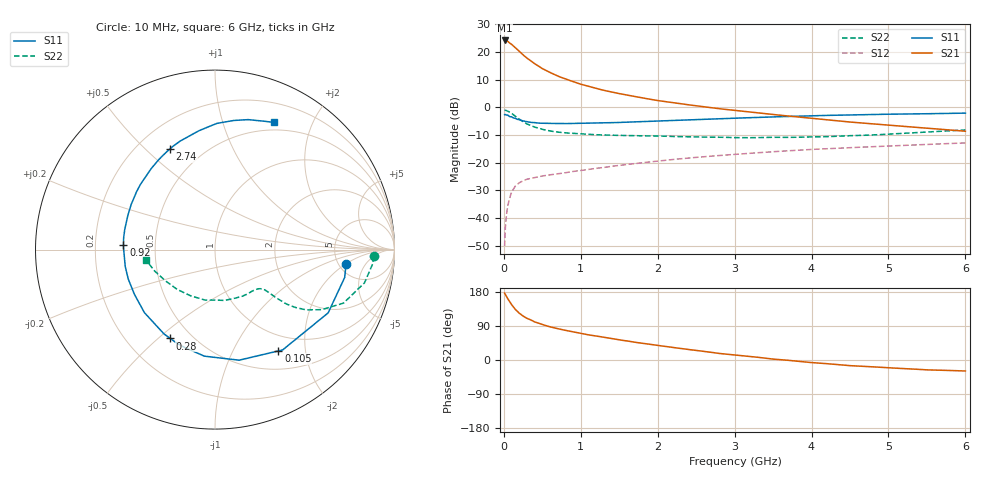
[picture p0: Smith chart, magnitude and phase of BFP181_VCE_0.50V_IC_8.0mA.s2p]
! Infineon Technologies  Discrete & RF Semiconductors
! BFP181
! VCE = 0.50V,  IC =  8.0 mA
! Common Emitter S-Parameters:  Jan 2016
# GHz  S  MA  R  50
!  f  S11  S21  S12  S22
! GHz  MAG  ANG  MAG  ANG  MAG  ANG  MAG  ANG
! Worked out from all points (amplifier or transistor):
!   210 points, 10 MHz to 6 GHz, reference 50 ohm
!   highest |S21| = 24.1 dB at 10 MHz (marker M1)
!   |S21| within 3 dB of that: start of sweep to 164.9 MHz
!   unconditionally stable (mu >= 1): start of sweep to 10.12 MHz; 460.1 MHz to end of sweep
!   at 185 MHz: K = 0.48, MSG = 24.1 dB, |S12| = -27.6 dB
!   at 1.52 GHz: K = 2.00, MAG = 7.2 dB, |S12| = -21.0 dB
!   at 6 GHz: K = 2.00, MAG = -3.6 dB, |S12| = -12.9 dB
!   S11 on the Smith chart (normalised r, x): 10 MHz: 5.78, -2.06; 105 MHz: 0.75, -1.53; 280 MHz: 0.38, -0.55; 920 MHz: 0.32, +0.02; 2.74 GHz: 0.33, +0.60; 6 GHz: 0.41, +1.49
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0.01  0.7345 -6.4  16.03 176.4  0.0031 85.9  0.8855 -2.4
0.02  0.7391 -12.1  16.02 173.0  0.0067 80.3  0.8825 -5.1
0.05  0.7223 -29.2  15.46 161.7  0.0163 75.9  0.8534 -12.5
0.1  0.6742 -56.0  13.69 146.0  0.0292 61.7  0.7758 -22.6
0.105  0.6658 -58.0  13.48 144.9  0.03 60.6  0.7661 -23.2
0.15  0.6306 -77.7  11.87 133.3  0.0378 52.6  0.6829 -29.3
0.2  0.5966 -95.7  10.24 123.5  0.0432 46.8  0.6089 -33.5
0.24  0.5711 -107.1  9.068 117.5  0.0461 42.8  0.5588 -35.5
0.28  0.5542 -116.7  8.134 112.5  0.0488 40.4  0.5179 -36.8
0.3  0.549 -121.2  7.711 110.0  0.0501 39.5  0.499 -37.3
0.4  0.5272 -138.3  6.111 100.5  0.0539 36.6  0.4378 -38.2
0.5  0.5134 -151.1  4.98 93.4  0.0573 35.0  0.3982 -38.5
0.7  0.5089 -169.2  3.644 82.6  0.0625 35.3  0.3552 -39.0
0.92  0.5104 177.3  2.838 73.5  0.0697 36.2  0.3357 -40.5
1.02  0.5133 171.7  2.556 69.5  0.0726 36.8  0.3282 -41.6
1.5  0.5307 151.5  1.761 53.1  0.0888 38.1  0.3099 -48.6
2.02  0.5606 133.4  1.307 38.0  0.1073 37.3  0.3017 -59.2
2.74  0.6148 114.1  0.962 19.0  0.1322 33.5  0.288 -77.5
3.1  0.6402 105.7  0.847 11.3  0.1439 31.3  0.2815 -88.3
4.1  0.7072 87.6  0.613 -8.2  0.1755 23.5  0.2921 -120.9
5.1  0.7497 74.6  0.462 -21.6  0.2021 15.7  0.3312 -150.5
6  0.7818 65.0  0.368 -29.0  0.2263 8.1  0.3887 -171.5
